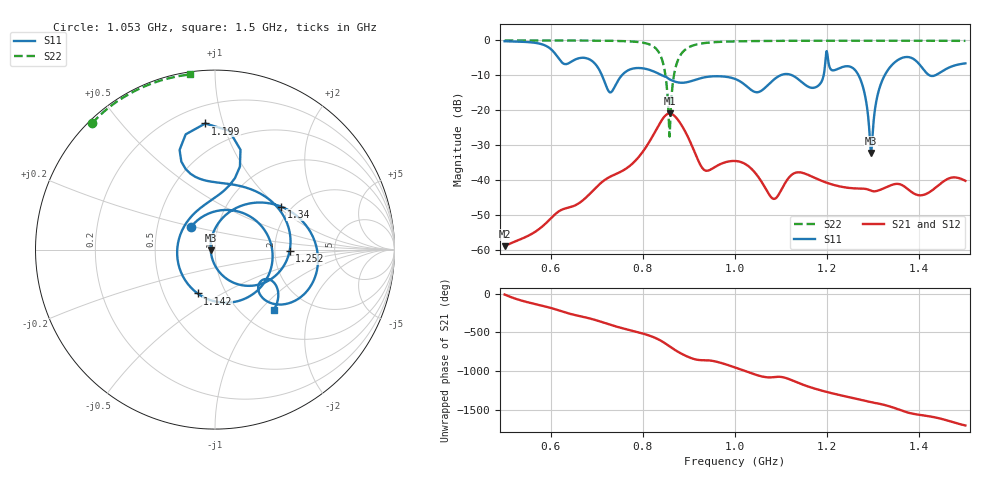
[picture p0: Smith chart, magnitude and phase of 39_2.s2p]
! TOUCHSTONE file generated by CST MICROWAVE STUDIO
! Date and time: Mon Nov 30 09:13:18 2020
! Project name: Scenario_1_Planar_Body_Tissue_Out_of_Line_v2.cst
! Parameters = {dy1=311.4; L_HA=400; Ltissue=700; MT=2.54; Rad_Dielectric=30; Rad_Lower=7.3; Rad_Upper=30; Wtissue=700; a_HA=580; a_WG=246; b_HA=500; b_WG=121; c_HA=0; c_WG=187; d_feed=85; dx1=346; h_feed=15; h_lower=18; h_upper=40; hfat=3; hgap=25; hmuscle=50; hskin=1.5}
! Header version: 2018
! Port assignment regex: !\s*Touchstone port\s*([0-9]+)\s*=\s*(CST MWS port|CST DS port)\s*([0-9]+|Zmin|Zmax)\s*\(\"(.*)\"\)(\s*mode\s*([0-9]+))?.*
! Touchstone port assignment:
! Touchstone port 1 = CST MWS port 1 ("")
! Touchstone port 2 = CST MWS port 2 ("")
# GHz S DB R 50
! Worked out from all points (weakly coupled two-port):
!   1003 points, 500 MHz to 1.5 GHz, reference 50 ohm
!   highest |S21| = -20.92 dB at 858 MHz (marker M1); lowest = -58.9 dB at 500 MHz (marker M2)
!   lowest |S11| = -32.2 dB at 1.295 GHz (marker M3), VSWR 1.05, Z = 47.7 - j0.477 ohm
!   |S11| at or under -10 dB: 841.7 MHz to 1.098 GHz (256.8 MHz wide, 26.5 % of centre); 1.124 GHz to 1.192 GHz (68.17 MHz wide, 5.89 % of centre); 1.268 GHz to 1.325 GHz (56.59 MHz wide, 4.36 % of centre)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
!   |S22| runs from -27.5 to 0.0 dB; largest |S21 - S12| = 1.5e-06
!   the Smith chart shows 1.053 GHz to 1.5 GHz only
!   S11 on the Smith chart (normalised r, x): 1.053 GHz: 0.74, +0.20; 1.142 GHz: 0.74, -0.39; 1.199 GHz: 0.31, +0.88; 1.252 GHz: 2.42, -0.05; 1.34 GHz: 1.78, +1.05; 1.5 GHz: 1.37, -1.19
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0.5  -0.23 -121.8  -58.92 -7.9  -58.92 -7.9  -0.01 151.2
0.578  -0.99 -164.9  -53.69 -148.1  -53.69 -148.1  -0.02 145.8
0.667  -4.97 153.8  -46.08 67.3  -46.08 67.3  -0.04 138.4
0.716  -11.54 39.9  -40.08 -14.1  -40.08 -14.1  -0.09 132.9
0.742  -12.49 -107.3  -38.23 -62.7  -38.23 -62.7  -0.14 129.0
0.773  -8.27 169.3  -35.78 -111.4  -35.78 -111.4  -0.28 122.4
0.834  -9.50 40.0  -24.39 129.5  -24.39 129.5  -3.26 83.6
0.858  -11.13 -25.7  -20.92 39.9  -20.92 39.9  -27.52 -53.6
0.888  -12.11 -124.6  -25.16 -68.4  -25.16 -68.4  -3.12 178.3
0.937  -10.49 85.2  -37.30 -140.3  -37.30 -140.3  -0.70 152.5
1  -11.02 -56.0  -34.52 126.1  -34.52 126.1  -0.27 140.3
1.053  -14.70 135.8  -39.54 17.5  -39.54 17.5  -0.17 134.2
1.101  -9.86 -4.0  -42.68 2.5  -42.68 2.5  -0.12 129.7
1.142  -11.61 -111.7  -37.80 -84.7  -37.80 -84.7  -0.10 126.2
1.167  -13.58 172.3  -38.99 -137.3  -38.99 -137.3  -0.10 124.2
1.199  -3.04 94.4  -40.75 168.6  -40.75 168.6  -0.09 121.8
1.252  -7.62 -1.1  -42.30 94.4  -42.30 94.4  -0.09 117.8
1.295  -32.22 -168.2  -43.03 34.7  -43.02 34.7  -0.08 114.5
1.334  -8.07 40.9  -41.70 -16.3  -41.70 -16.3  -0.09 111.6
1.34  -7.12 32.8  -41.39 -27.4  -41.39 -27.4  -0.09 111.1
1.393  -5.86 -35.9  -44.13 -122.0  -44.13 -122.0  -0.09 107.0
1.5  -6.57 -45.9  -40.20 93.5  -40.20 93.5  -0.13 98.0
